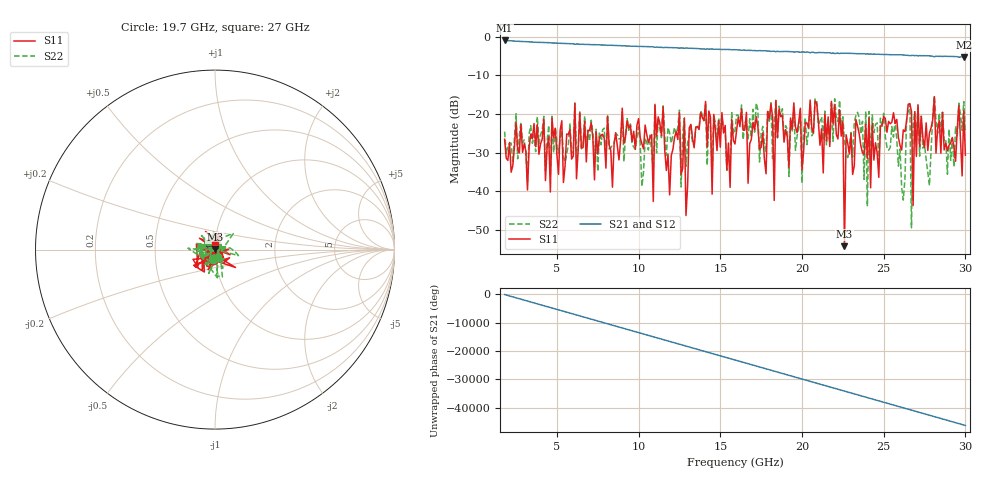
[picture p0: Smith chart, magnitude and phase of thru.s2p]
! C:\Users\Focus\Desktop\Focus Traning\LOW FREQUENCY TUNERS\LOAD-PULL CALIBRATION\02-08-2024\focus_TRL\thru.S2P
! measured on: 08/02/24 14:59:11
# GHZ S MA R 50
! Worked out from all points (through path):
!   283 points, 1.8 GHz to 30 GHz, reference 50 ohm
!   highest |S21| = -0.95 dB at 1.8 GHz (marker M1); lowest = -5.3 dB at 29.9 GHz (marker M2)
!   lowest |S11| = -54.2 dB at 22.6 GHz (marker M3), VSWR 1.00, Z = 49.8 + j0.0648 ohm
!   |S11| at or under -10 dB: start of sweep to end of sweep
!   |S22| runs from -49.4 to -15.3 dB; largest |S21 - S12| = 0.00025
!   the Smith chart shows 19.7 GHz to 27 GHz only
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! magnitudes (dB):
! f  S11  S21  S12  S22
! 1.8 GHz  -26.5  -0.9  -0.9  -24.5
! 6.5 GHz  -28.7  -1.9  -1.9  -29.0
! 10.9 GHz  -42.6  -2.6  -2.6  -34.6
! 11.2 GHz  -20.7  -2.7  -2.7  -20.9
! 11.9 GHz  -40.9  -2.8  -2.8  -24.8
! 12.8 GHz  -21.0  -2.9  -2.9  -21.1
! 12.9 GHz  -46.2  -2.9  -2.9  -33.5
! 14.1 GHz  -16.7  -3.2  -3.2  -17.5
! 14.5 GHz  -40.7  -3.1  -3.1  -36.1
! 15.9 GHz  -27.7  -3.4  -3.4  -24.2
! 20.6 GHz  -23.5  -4.0  -4.0  -25.6
! 22.5 GHz  -21.9  -4.3  -4.3  -20.7
! 22.6 GHz  -54.2  -4.2  -4.2  -26.9
! 22.7 GHz  -25.3  -4.3  -4.3  -30.0
! 25.3 GHz  -21.9  -4.6  -4.6  -29.3
! 26.2 GHz  -24.1  -4.7  -4.7  -42.2
! 26.6 GHz  -17.3  -4.9  -4.9  -17.4
! 26.7 GHz  -19.3  -4.8  -4.8  -49.4
! 26.8 GHz  -43.6  -4.8  -4.8  -22.7
! 26.9 GHz  -19.4  -4.9  -4.9  -19.4
! 29.9 GHz  -19.2  -5.3  -5.3  -16.8
! 30 GHz  -30.7  -5.2  -5.2  -24.8
